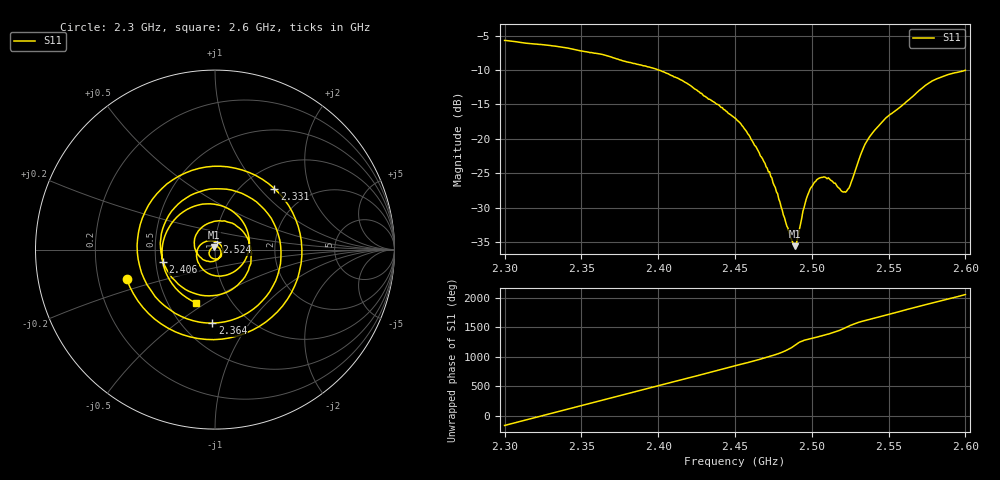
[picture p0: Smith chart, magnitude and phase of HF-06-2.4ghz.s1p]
! NanoVNA-App
! Date: 2026-05-22 18:39:13
! Start: 2.3GHz Stop: 2.6GHz Points: 401
! S-Parameter data: F S11
# Hz S RI R 50
!  Frequency  S11_Real  S11_Imag
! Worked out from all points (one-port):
!   401 points, 2.3 GHz to 2.6 GHz, reference 50 ohm
!   lowest |S11| = -35.6 dB at 2.489 GHz (marker M1), VSWR 1.03, Z = 49.3 + j1.51 ohm
!   |S11| at or under -10 dB: 2.4 GHz to end of sweep
!   S11 on the Smith chart (normalised r, x): 2.3 GHz: 0.32, -0.15; 2.331 GHz: 1.38, +1.21; 2.364 GHz: 0.69, -0.68; 2.406 GHz: 0.55, -0.08; 2.524 GHz: 1.02, +0.09; 2.6 GHz: 0.68, -0.45
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2.3e9  -0.4913 -0.1657
2.30675e9  -0.2224 -0.4576
2.31275e9  0.125 -0.4811
2.32175e9  0.4698 -0.1237
2.33075e9  0.3306 0.34
2.3375e9  -0.00914 0.4642
2.35025e9  -0.4342 0.0231
2.36375e9  -0.0154 -0.4099
2.375e9  0.3576 -0.1108
2.39e9  0.0345 0.3383
2.399e9  -0.2579 0.1899
2.4065e9  -0.2889 -0.069
2.4125e9  -0.1659 -0.2213
2.42975e9  0.201 -0.0407
2.44025e9  0.083 0.151
2.45e9  -0.085 0.1126
2.4725e9  0.0154 -0.0556
2.4875e9  0.0013 0.0177
2.489e9  -0.00638 0.0153
2.5025e9  -0.019 -0.0452
2.52425e9  0.01 0.0428
2.525e9  0.00186 0.046
2.5415e9  -0.0953 -0.0686
2.552e9  0.0447 -0.1459
2.5625e9  0.1897 0.00359
2.579e9  -0.0928 0.2484
2.59025e9  -0.2956 -0.0188
2.6e9  -0.1081 -0.2957
